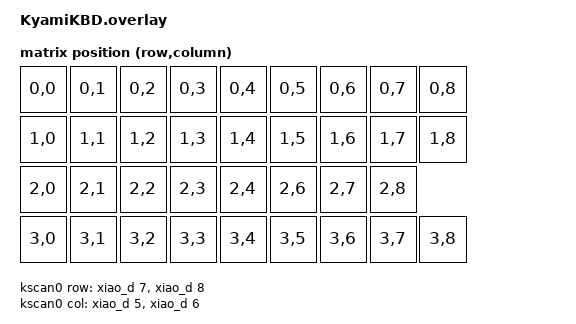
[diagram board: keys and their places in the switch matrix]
#include <dt-bindings/zmk/matrix_transform.h>
#include <physical_layouts.dtsi>

/ {
    chosen {
        zmk,physical-layout = &physical_layout0;
    };

    physical_layout0: physical_layout_0 {
        compatible = "zmk,physical-layout";
        display-name = "Default Layout";
        kscan = <&kscan0>;
        transform = <&default_transform>;
	keys  //                      w   h x y rot rx ry
	    = <&key_physical_attrs 100 100   0   0   0  0  0>
	    , <&key_physical_attrs 100 100 100   0   0  0  0>
	    , <&key_physical_attrs 100 100   0 100   0  0  0>
	    , <&key_physical_attrs 100 100 100 100   0  0  0>
	    ;
    };

    default_transform: keymap_transform0 {
        compatible = "zmk,matrix-transform";
        rows = <3>;
        columns = <8>;
        map = <
            RC(0,0) RC(0,1) RC(0,2) RC(0,3) RC(0,4) RC(0,5) RC(0,6) RC(0,7) RC(0,8)
            RC(1,0) RC(1,1) RC(1,2) RC(1,3) RC(1,4) RC(1,5) RC(1,6) RC(1,7) RC(1,8)
            RC(2,0) RC(2,1) RC(2,2) RC(2,3) RC(2,4) RC(2,6) RC(2,7) RC(2,8)
            RC(3,0) RC(3,1) RC(3,2) RC(3,3) RC(3,4) RC(3,5) RC(3,6) RC(3,7) RC(3,8)
        >;
    };

    kscan0: kscan0 {
        compatible = "zmk,kscan-gpio-matrix";
        diode-direction = "col2row";
        col-gpios
            = <&xiao_d 5 GPIO_ACTIVE_HIGH>
            , <&xiao_d 6 GPIO_ACTIVE_HIGH>
            ;
        row-gpios
            = <&xiao_d 7 (GPIO_ACTIVE_HIGH | GPIO_PULL_DOWN)>
            , <&xiao_d 8 (GPIO_ACTIVE_HIGH | GPIO_PULL_DOWN)>
            ;
    };
};
